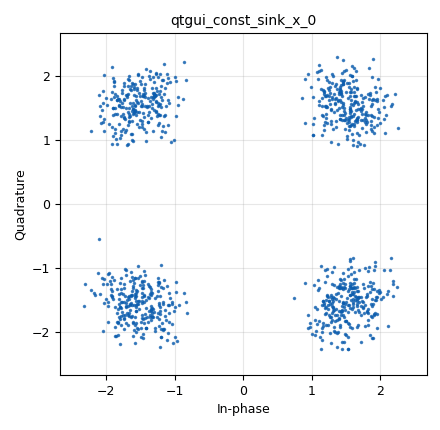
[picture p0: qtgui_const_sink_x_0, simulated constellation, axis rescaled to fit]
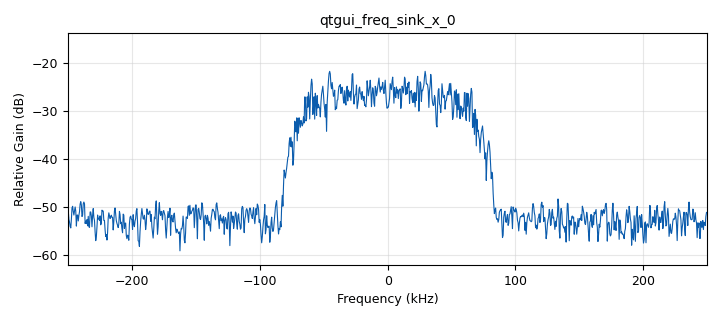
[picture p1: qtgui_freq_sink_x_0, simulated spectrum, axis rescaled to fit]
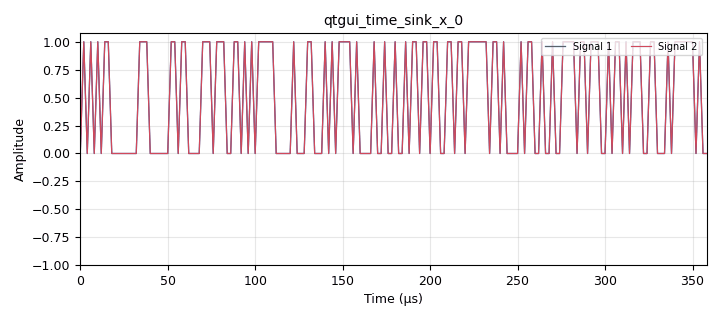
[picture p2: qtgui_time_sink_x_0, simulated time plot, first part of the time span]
options:
  parameters:
    author: Marc Lichtman
    generate_options: qt_gui
    id: pn11_over_difi
    output_language: python
    title: PN11 Over DIFI
  states: {}

blocks:
- name: constellation_obj
  id: variable_constellation
  parameters:
    precision: '8'
    type: qpsk
  states: {}
- name: samp_rate
  id: variable
  parameters:
    value: '500000'
  states: {}
- name: sps
  id: variable
  parameters:
    value: '4'
  states: {}
- name: analog_fastnoise_source_x_0
  id: analog_fastnoise_source_x
  parameters:
    amp: '0.2'
    noise_type: analog.GR_GAUSSIAN
    samples: '8192'
    seed: '0'
    type: complex
  states: {}
- name: blocks_add_xx_0
  id: blocks_add_xx
  parameters:
    type: complex
  states: {}
- name: blocks_char_to_float_0
  id: blocks_char_to_float
  parameters:
    scale: '1'
  states: {}
- name: blocks_char_to_float_0_0
  id: blocks_char_to_float
  parameters:
    scale: '1'
  states: {}
- name: blocks_message_debug_0
  id: blocks_message_debug
  parameters: {}
  states: {state: disabled}
- name: blocks_multiply_const_vxx_0
  id: blocks_multiply_const_vxx
  parameters:
    const: '45'
    type: complex
  states: {}
- name: blocks_multiply_const_vxx_0_0
  id: blocks_multiply_const_vxx
  parameters:
    comment: |-
      symbol sync likes the
      signal to be close to -1 to +1
    const: 1/45
    type: complex
  states: {}
- name: blocks_pack_k_bits_bb_0
  id: blocks_pack_k_bits_bb
  parameters:
    k: '8'
  states: {}
- name: blocks_probe_rate_0
  id: blocks_probe_rate
  parameters:
    alpha: '0.15'
    mintime: '500.0'
    type: complex
  states: {state: disabled}
- name: blocks_skiphead_0
  id: blocks_skiphead
  parameters:
    num_items: '42'
    type: byte
  states: {}
- name: blocks_skiphead_1
  id: blocks_skiphead
  parameters:
    num_items: '0'
    type: byte
  states: {}
- name: blocks_throttle2_0
  id: blocks_throttle2
  parameters:
    samples_per_second: samp_rate
    type: byte
  states: {}
- name: blocks_unpack_k_bits_bb_0
  id: blocks_unpack_k_bits_bb
  parameters:
    k: '2'
  states: {}
- name: difi_sink_cpp_0
  id: difi_sink_cpp
  parameters:
    bit_depth: '16'
    comment: |-
      there are 2 items going into the DIFI Sink for
      every 1 bit coming out of the source block
      (2 bits per symbol but 4 samples per symbol)
    context_pack_size: '108'
    context_packet_send_count: '1000'
    data_size: '128'
    gain: '1.0'
    ip_addr: 127.0.0.1
    max_iq: '127'
    min_iq: '-127'
    mode: 'False'
    offset: '0'
    port: '50003'
    protocol: '2'
    reference_time_frac: '0'
    reference_time_full: '0'
    sample_rate: samp_rate*2
    scaling: '0'
    stream_id: '0'
    type: complex
  states: {state: disabled}
- name: difi_source_cpp_0_0
  id: difi_source_cpp
  parameters:
    bit_depth: '16'
    context_behavior: '0'
    ip_addr: 127.0.0.1
    port: '50003'
    protocol: '2'
    stream_num: '0'
    type: complex
  states: {state: disabled}
- name: digital_constellation_decoder_cb_0
  id: digital_constellation_decoder_cb
  parameters:
    constellation: constellation_obj
  states: {}
- name: digital_constellation_modulator_0
  id: digital_constellation_modulator
  parameters:
    constellation: constellation_obj
    differential: 'False'
    excess_bw: '0.35'
    samples_per_symbol: sps
  states: {}
- name: digital_costas_loop_cc_0
  id: digital_costas_loop_cc
  parameters:
    order: '4'
    w: '0.06'
  states: {}
- name: digital_symbol_sync_xx_0
  id: digital_symbol_sync_xx
  parameters:
    damping: '1.0'
    loop_bw: '0.045'
    max_dev: '1.5'
    nfilters: '32'
    osps: '1'
    resamp_type: digital.IR_MMSE_8TAP
    sps: sps
    ted_gain: '1.0'
    ted_type: digital.TED_MUELLER_AND_MULLER
    type: cc
  states: {}
- name: epy_block_0
  id: epy_block
  parameters:
    _source_code: "\"\"\"\nWritten by Marc, adapted from gr-vt\n\"\"\"\n\nimport numpy as np\nfrom gnuradio import gr\nimport operator,copy\nfrom functools import reduce\n\nclass prbs_base:\n    modes = {\n        \"PRBS7\":[0,6,7],\n        \"PRBS15\":[0,14,15],\n        \"PRBS23\":[0,18,23],\n        \"PRBS31\":[0,28,31]\n        }\n\n    def __init__(self, which_mode = \"PRBS7\"):\n        # https://en.wikipedia.org/wiki/Pseudorandom_binary_sequence\n        self.gen_poly = self.modes[which_mode]\n        self.reg  = np.ones([max(self.gen_poly)+1], dtype='uint8')\n        self.reg[0::4] = 0  # pick a seed that likely doesnt start with long strings of 0s or 1s for sanity sake\n        self.init_reg = copy.copy(self.reg)\n        self.idx = 0\n        self.reset_len = 100000\n        self.pregen()\n\n    def pregen(self):\n        self.pre = self.gen_n(self.reset_len, lookup=False)\n\n    def gen_n_nocheck(self, n=1000):\n        o = np.zeros([n],dtype='uint8')\n        for i in range(0, n):\n            nv = reduce(operator.xor, map(lambda x: self.reg[x], self.gen_poly[1:]))\n            self.reg[1:] = self.reg[0:-1]\n            self.reg[0] = nv\n            o[i] = nv\n        return o\n\n    def gen_n_nocheck2(self, n=1000):\n        return self.pre[self.idx:self.idx+n]\n\n    def gen_n(self, n=1000, lookup=True):\n        o = np.array([],dtype='int8')\n        while n > 0:\n            nout = min(n,self.reset_len-self.idx)\n            if lookup:\n                o = np.concatenate([o, self.gen_n_nocheck2(nout)])\n            else:\n                o = np.concatenate([o, self.gen_n_nocheck(nout)])\n            self.idx += nout\n            n -= nout\n            if self.idx == self.reset_len:\n                self.reg[:] = self.init_reg[:]\n                self.idx = 0\n        return o\n        \n\n\nclass blk(gr.sync_block):  # other base classes are basic_block, decim_block, interp_block\n    def __init__(self, padding=128):  # only default arguments here\n        gr.sync_block.__init__(\n            self,\n            name='PRBS7',\n            in_sig=[],\n            out_sig=[np.uint8]\n        )\n        self.base = prbs_base(\"PRBS7\")\n        self.first_work = True\n        self.leading_zeros = padding # samples\n\n    def work(self, input_items, output_items):\n        out = output_items[0]\n        nout = len(out)\n        if self.first_work:\n            if nout < self.leading_zeros:\n                return 0\n            else:\n                out[0:self.leading_zeros] = np.zeros(self.leading_zeros, dtype=np.uint8)\n                self.first_work = False\n                return self.leading_zeros\n        gen = self.base.gen_n(nout)\n        out[:] = gen[:]\n        return nout\n\n\n\n"
    padding: '0'
  states: {state: disabled}
- name: epy_block_1
  id: epy_block
  parameters:
    _source_code: "\"\"\"\nWritten by Marc, adapted from gr-vt\n\"\"\"\n\nimport numpy as np\nfrom gnuradio import gr\nimport operator,copy\nfrom functools import reduce\n\nclass prbs_base:\n    modes = {\n        \"PRBS7\":[0,6,7],\n        \"PRBS15\":[0,14,15],\n        \"PRBS23\":[0,18,23],\n        \"PRBS31\":[0,28,31]\n        }\n\n    def __init__(self, which_mode = \"PRBS7\"):\n        # https://en.wikipedia.org/wiki/Pseudorandom_binary_sequence\n        self.gen_poly = self.modes[which_mode]\n        self.reg  = np.ones([max(self.gen_poly)+1], dtype='uint8')\n        self.reg[0::4] = 0  # pick a seed that likely doesnt start with long strings of 0s or 1s for sanity sake\n        self.init_reg = copy.copy(self.reg)\n        self.idx = 0\n        self.reset_len = 100000\n        self.pregen()\n\n    def pregen(self):\n        self.pre = self.gen_n(self.reset_len, lookup=False)\n\n    def gen_n_nocheck(self, n=1000):\n        o = np.zeros([n],dtype='uint8')\n        for i in range(0, n):\n            nv = reduce(operator.xor, map(lambda x: self.reg[x], self.gen_poly[1:]))\n            self.reg[1:] = self.reg[0:-1]\n            self.reg[0] = nv\n            o[i] = nv\n        return o\n\n    def gen_n_nocheck2(self, n=1000):\n        return self.pre[self.idx:self.idx+n]\n\n    def gen_n(self, n=1000, lookup=True):\n        o = np.array([],dtype='int8')\n        while n > 0:\n            nout = min(n,self.reset_len-self.idx)\n            if lookup:\n                o = np.concatenate([o, self.gen_n_nocheck2(nout)])\n            else:\n                o = np.concatenate([o, self.gen_n_nocheck(nout)])\n            self.idx += nout\n            n -= nout\n            if self.idx == self.reset_len:\n                self.reg[:] = self.init_reg[:]\n                self.idx = 0\n        return o\n        \n        \n\nclass blk(gr.sync_block):  # other base classes are basic_block, decim_block, interp_block\n    def __init__(self, skip=0):  # only default arguments here\n        gr.sync_block.__init__(\n            self,\n            name='PRBS7 BER',\n            in_sig=[np.uint8],\n            out_sig=[]\n        )\n        self.base = prbs_base(\"PRBS7\")\n        self.nbits = 0.0\n        self.nerrs = 0.0\n        self.skip  = skip\n        self.i = 0\n        \n    def work(self, input_items, output_items):\n        inb = input_items[0]\n        gen = self.base.gen_n(len(inb))\n        if(self.nitems_read(0) > self.skip):\n            # only count bit errors after first skip bits\n            self.nerrs += np.sum(np.bitwise_xor(inb, gen).astype('float32'))\n            self.nbits += len(inb)\n        self.i += 1\n        if self.nbits > 0 and self.i > 100:\n            print(\"NBits: %d \\tNErrs: %d \\tBER: %f\"%(int(self.nbits), int(self.nerrs), self.nerrs/self.nbits))\n            self.i = 0\n        return len(inb)\n        \n\n\n"
    skip: '0'
  states: {state: disabled}
- name: epy_block_2
  id: epy_block
  parameters:
    _source_code: |
      import numpy as np
      from gnuradio import gr

      class blk(gr.sync_block):  # other base classes are basic_block, decim_block, interp_block
          def __init__(self, samples=1000):  # only default arguments here
              gr.sync_block.__init__(
                  self,
                  name='Print first N samples',
                  in_sig=[np.complex64],
                  out_sig=[]
              )
              self.samples = samples
              self.i = 0

          def work(self, input_items, output_items):
              if self.i < self.samples:
                  N = min(self.samples - self.i, len(input_items[0]))
                  print(input_items[0][0:N])
                  self.i += N
                  return N
              else:
                  return len(input_items[0])
    samples: '100'
  states: {state: disabled}
- name: epy_block_2_0
  id: epy_block
  parameters:
    _source_code: |
      import numpy as np
      from gnuradio import gr

      class blk(gr.sync_block):  # other base classes are basic_block, decim_block, interp_block
          def __init__(self, samples=1000):  # only default arguments here
              gr.sync_block.__init__(
                  self,
                  name='Print first N samples',
                  in_sig=[np.complex64],
                  out_sig=[]
              )
              self.samples = samples
              self.i = 0

          def work(self, input_items, output_items):
              if self.i < self.samples:
                  N = min(self.samples - self.i, len(input_items[0]))
                  print(input_items[0][0:N])
                  self.i += N
                  return N
              else:
                  return len(input_items[0])
    samples: '100'
  states: {state: disabled}
- name: epy_block_2_0_0
  id: epy_block
  parameters:
    _source_code: |
      import numpy as np
      from gnuradio import gr

      class blk(gr.sync_block):  # other base classes are basic_block, decim_block, interp_block
          def __init__(self, samples=1000):  # only default arguments here
              gr.sync_block.__init__(
                  self,
                  name='Print first N samples',
                  in_sig=[np.uint8],
                  out_sig=[]
              )
              self.samples = samples
              self.i = 0

          def work(self, input_items, output_items):
              if self.i < self.samples:
                  N = min(self.samples - self.i, len(input_items[0]))
                  print(input_items[0][0:N])
                  self.i += N
                  return N
              else:
                  return len(input_items[0])
    samples: '200'
  states: {state: disabled}
- name: epy_block_3
  id: epy_block
  parameters:
    _source_code: |
      from gnuradio import gr
      import numpy as np

      class pn11_source(gr.sync_block):
          def __init__(self):
              gr.sync_block.__init__(self,
                  name="PN11 Gen",
                  in_sig=None,
                  out_sig=[np.uint8])
              self.reg = 0x400 # seed, must be a non-zero 11-bit integer (1 to 2046)

          def work(self, input_items, output_items):
              out = output_items[0]
              for i in range(len(out)):
                  #out[i] = self.reg & 0x01  # Output LSB
                  out[i] = (self.reg >> 10) & 1

                  # Feedback = XOR of bit 11 and bit 9
                  bit_11 = (self.reg >> 10) & 0x01
                  bit_9 = (self.reg >> 8) & 0x01
                  new_bit = bit_11 ^ bit_9

                  # Shift register: shift right and insert new bit at MSB
                  #self.reg = ((self.reg >> 1) | (new_bit << 10)) & 0x7FF  # Mask to 11 bits
                  self.reg = ((self.reg << 1) & 0x7FF) | new_bit
              return len(out)
  states: {}
- name: epy_block_4
  id: epy_block
  parameters:
    _source_code: |
      import numpy as np
      from gnuradio import gr

      class blk(gr.sync_block):  # other base classes are basic_block, decim_block, interp_block
          """Embedded Python Block example - a simple multiply const"""

          def __init__(self):  # only default arguments here
              """arguments to this function show up as parameters in GRC"""
              gr.sync_block.__init__(
                  self,
                  name='PN11 BER',
                  in_sig=[np.uint8],
                  out_sig=[]
              )
              self.nbits = 0.0
              self.nerrs = 0.0
              self.i = 0
              self.reg = 0x400 # seed, must be a non-zero 11-bit integer (1 to 2046)

          def work(self, input_items, output_items):
              inb = input_items[0]
              gen = np.zeros(len(inb), dtype=np.uint8)
              for i in range(len(inb)):
                  #gen[i] = self.reg & 0x01  # Output LSB
                  gen[i] = (self.reg >> 10) & 1

                  # Feedback = XOR of bit 11 and bit 9
                  bit_11 = (self.reg >> 10) & 0x01
                  bit_9 = (self.reg >> 8) & 0x01
                  new_bit = bit_11 ^ bit_9

                  # Shift register: shift right and insert new bit at MSB
                  #self.reg = ((self.reg >> 1) | (new_bit << 10)) & 0x7FF  # Mask to 11 bits
                  self.reg = ((self.reg << 1) & 0x7FF) | new_bit
              
              
              self.nerrs += np.sum(np.bitwise_xor(inb, gen).astype('float32'))
              self.nbits += len(inb)
              self.i += 1
              if self.nbits > 0 and self.i > 100:
                  print("NBits: %d \tNErrs: %d \tBER: %f"%(int(self.nbits), int(self.nerrs), self.nerrs/self.nbits))
                  self.i = 0
              return len(inb)
  states: {}
- name: import_0
  id: import
  parameters:
    imports: import time
  states: {state: disabled}
- name: qtgui_const_sink_x_0
  id: qtgui_const_sink_x
  parameters:
    grid: 'True'
    gui_hint: 2,0,1,1
    size: '1024'
    type: complex
  states: {}
- name: qtgui_freq_sink_x_0
  id: qtgui_freq_sink_x
  parameters:
    average: '0.2'
    bw: samp_rate
    fc: '0'
    fftsize: '1024'
    grid: 'True'
    gui_hint: 0,0,1,2
    legend: 'False'
    type: complex
    ymax: '-25'
    ymin: '-60'
  states: {}
- name: qtgui_time_sink_x_0
  id: qtgui_time_sink_x
  parameters:
    nconnections: '2'
    size: '2000'
    srate: samp_rate
    type: float
  states: {}
- name: qtgui_time_sink_x_0_0
  id: qtgui_time_sink_x
  parameters:
    autoscale: 'True'
    grid: 'True'
    gui_hint: 1,0,1,2
    label1: I
    label2: Q
    marker1: '0'
    marker2: '0'
    size: '100'
    srate: samp_rate
    type: complex
    update_time: '0.20'
  states: {state: disabled}
- name: snippet_0
  id: snippet
  parameters:
    code: time.sleep(1)
    section: main_after_init
  states: {state: disabled}

connections:
- [analog_fastnoise_source_x_0, '0', blocks_add_xx_0, '0']
- [blocks_add_xx_0, '0', blocks_multiply_const_vxx_0, '0']
- [blocks_char_to_float_0, '0', qtgui_time_sink_x_0, '0']
- [blocks_char_to_float_0_0, '0', qtgui_time_sink_x_0, '1']
- [blocks_multiply_const_vxx_0, '0', blocks_multiply_const_vxx_0_0, '0']
- [blocks_multiply_const_vxx_0, '0', blocks_probe_rate_0, '0']
- [blocks_multiply_const_vxx_0, '0', difi_sink_cpp_0, '0']
- [blocks_multiply_const_vxx_0, '0', epy_block_2_0, '0']
- [blocks_multiply_const_vxx_0_0, '0', digital_symbol_sync_xx_0, '0']
- [blocks_multiply_const_vxx_0_0, '0', qtgui_freq_sink_x_0, '0']
- [blocks_multiply_const_vxx_0_0, '0', qtgui_time_sink_x_0_0, '0']
- [blocks_pack_k_bits_bb_0, '0', digital_constellation_modulator_0, '0']
- [blocks_probe_rate_0, rate, blocks_message_debug_0, print]
- [blocks_skiphead_0, '0', blocks_char_to_float_0_0, '0']
- [blocks_skiphead_0, '0', epy_block_1, '0']
- [blocks_skiphead_0, '0', epy_block_4, '0']
- [blocks_skiphead_1, '0', blocks_char_to_float_0, '0']
- [blocks_skiphead_1, '0', blocks_pack_k_bits_bb_0, '0']
- [blocks_throttle2_0, '0', blocks_skiphead_1, '0']
- [blocks_unpack_k_bits_bb_0, '0', blocks_skiphead_0, '0']
- [difi_source_cpp_0_0, '0', blocks_multiply_const_vxx_0_0, '0']
- [difi_source_cpp_0_0, '0', epy_block_2, '0']
- [digital_constellation_decoder_cb_0, '0', blocks_unpack_k_bits_bb_0, '0']
- [digital_constellation_modulator_0, '0', blocks_add_xx_0, '1']
- [digital_costas_loop_cc_0, '0', digital_constellation_decoder_cb_0, '0']
- [digital_costas_loop_cc_0, '0', qtgui_const_sink_x_0, '0']
- [digital_symbol_sync_xx_0, '0', digital_costas_loop_cc_0, '0']
- [epy_block_0, '0', blocks_throttle2_0, '0']
- [epy_block_0, '0', epy_block_2_0_0, '0']
- [epy_block_3, '0', blocks_throttle2_0, '0']
- [epy_block_3, '0', epy_block_2_0_0, '0']

metadata:
  file_format: 1
  grc_version: 3.10.9.2
